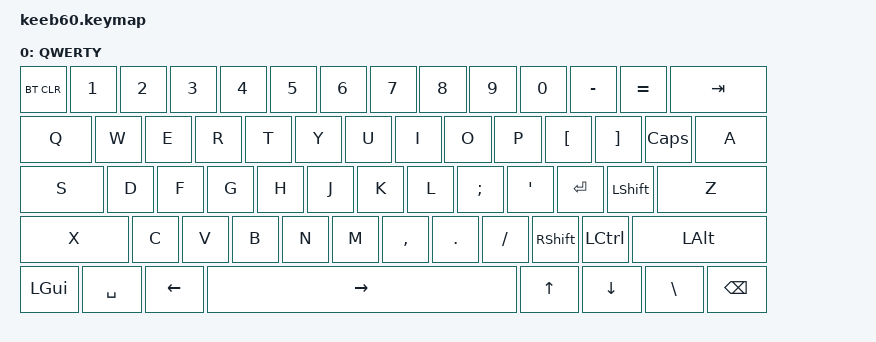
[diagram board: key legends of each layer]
#include <behaviors.dtsi>
#include <dt-bindings/zmk/keys.h>

/ {
    keymap {
        compatible = "zmk,keymap";

        default_layer { // Layer 0
            display-name = "QWERTY";

            // -------------------------------------
            // | Esc   | 1 | 2 | 3 | 4 |   5   | 6 | 7 | 8 | 9 | 0 | - |   =   |
            // | Tab   | Q | W | E | R |   T   | Y | U | I | O | P | [ |   ]   |
            // | Caps  | A | S | D | F |   G   | H | J | K | L | ; | , | Enter |
            // | Shift | Z |   | X | C |   V   | B | N | M | , | . | / | Shift |
            // |  Ctl  |Opt|Cmd|   |   | Space | L | R | U | D | / | Bkspe |

            bindings = <
                &bt BT_CLR        &kp N1    &kp N2    &kp N3    &kp N4    &kp N5    &kp N6    &kp N7    &kp N8    &kp N9    &kp N0    &kp MINUS    &kp EQUAL
                &kp TAB           &kp Q     &kp W     &kp E     &kp R     &kp T     &kp Y     &kp U     &kp I     &kp O     &kp P     &kp LBKT     &kp RBKT
                &kp CAPS          &kp A     &kp S     &kp D     &kp F     &kp G     &kp H     &kp J     &kp K     &kp L     &kp SEMI  &kp APOS    &kp RETURN
                &kp LSHFT         &kp Z               &kp X     &kp C     &kp V     &kp B     &kp N     &kp M     &kp COMMA &kp DOT   &kp FSLH     &kp RSHFT
                &kp LCTRL         &kp LALT  &kp LGUI                      &kp SPACE           &kp LEFT  &kp RIGHT &kp UP    &kp DOWN  &kp BSLH     &kp BSPC
            >;
        };
    };
 };



